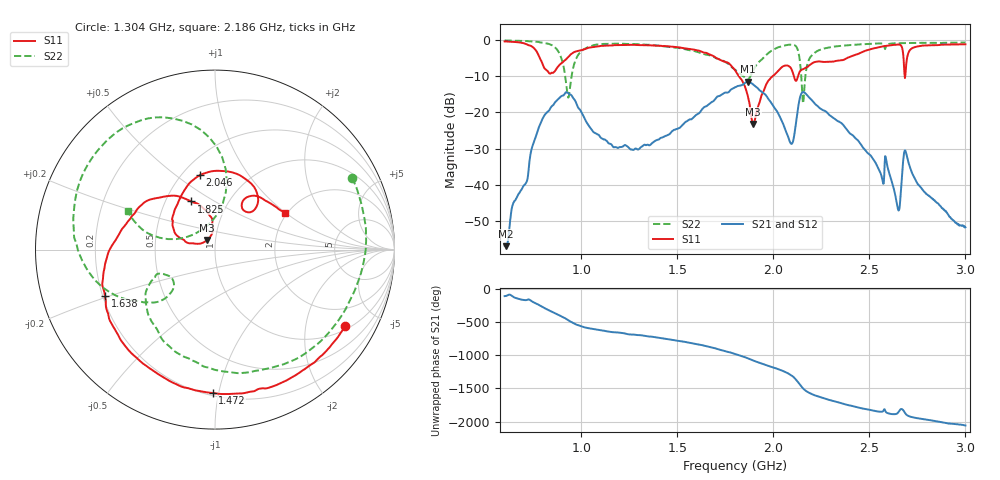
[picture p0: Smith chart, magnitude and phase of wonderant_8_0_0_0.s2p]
#  HZ  S  RI  R  50.00
! Rohde & Schwarz ZVB8 2Ports - Version 2.81 - 1145.1010k08 SN: 100113
! Date: 2016-05-17 22:36:52
! Measurements: S11 S21 S12 S22
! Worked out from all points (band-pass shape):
!   1000 points, 600 MHz to 3 GHz, reference 50 ohm
!   highest |S21| = -11.54 dB at 1.866 GHz (marker M1); lowest = -56.9 dB at 604.8 MHz (marker M2)
!   |S21| within 3 dB of the highest: 1.764 GHz to 1.944 GHz (180 MHz wide, 9.71 % of centre); 2.149699 GHz to 2.159486 GHz (9.787 MHz wide, 0.454 % of centre)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
!   lowest |S11| = -23.3 dB at 1.895 GHz (marker M3), VSWR 1.15, Z = 45.6 + j4.84 ohm
!   |S11| at or under -10 dB: 1.819 GHz to 1.997 GHz (178 MHz wide, 9.33 % of centre); 2.106 GHz to 2.129 GHz (22.15 MHz wide, 1.05 % of centre); 2.683906 GHz to 2.6866 GHz (2.694 MHz wide, 0.1 % of centre)
!   |S22| runs from -17.6 to -0.2 dB; largest |S21 - S12| = 0.0019
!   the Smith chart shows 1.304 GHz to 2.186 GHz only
!   S11 on the Smith chart (normalised r, x): 1.304 GHz: 1.13, -3.30; 1.472 GHz: 0.22, -0.96; 1.638 GHz: 0.21, -0.19; 1.825 GHz: 0.67, +0.40; 2.046 GHz: 0.61, +0.61; 2.186 GHz: 1.94, +0.99
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6e8  -0.8159 0.4798  -0.000568 -0.00134  -0.000516 -0.00132  -0.9477 0.2309
6.048048e8  -0.8006 0.5013  -0.00054 -0.00132  -0.000454 -0.00137  -0.9415 0.2521
7.72973e8  0.1466 0.6248  -0.0309 0.0472  -0.0316 0.0473  -0.4669 0.8086
8.954955e8  -0.0997 0.4615  0.0896 -0.1404  0.0903 -0.1393  0.3925 0.3936
9.387387e8  -0.065 0.6005  -0.108 -0.1397  -0.1074 -0.1399  -0.0914 -0.1746
1.001201e9  0.2119 0.6855  -0.0867 0.047  -0.0866 0.0466  -0.5388 0.4451
1.126126e9  0.7134 0.4204  0.00629 0.0408  0.00629 0.041  0.0586 0.874
1.303904e9  0.7235 -0.4276  0.0297 0.0113  0.0298 0.0114  0.7652 0.4007
1.4e9  0.3638 -0.7454  0.0398 -0.0126  0.04 -0.0125  0.8226 -0.0956
1.472072e9  -0.0133 -0.7995  0.0365 -0.0408  0.0366 -0.0407  0.6583 -0.4322
1.637838e9  -0.6126 -0.2566  -0.0857 -0.0791  -0.0855 -0.0793  -0.1119 -0.6234
1.801201e9  -0.2264 0.3007  -0.0246 0.2198  -0.0257 0.2194  -0.3444 -0.166
1.825225e9  -0.133 0.2683  0.0641 0.2237  0.0632 0.224  -0.3142 -0.1338
1.866066e9  -0.0155 0.1696  0.2235 0.1421  0.2229 0.1434  -0.2419 -0.157
1.894895e9  -0.0439 0.0529  0.2406 -0.00867  0.2403 -0.0073  -0.2689 -0.2649
2.046246e9  -0.0847 0.4144  -0.0657 -0.0324  -0.0657 -0.0325  -0.7865 0.2115
2.096697e9  0.2392 0.2926  -0.0234 0.0284  -0.0235 0.0282  -0.6091 0.6007
2.142342e9  0.2329 0.298  0.1633 -0.0573  0.1635 -0.0564  0.0655 0.3855
2.185586e9  0.3885 0.2065  -0.0921 -0.1311  -0.0917 -0.1311  -0.4875 0.2161
2.2e9  0.4439 0.1517  -0.1209 -0.0829  -0.1207 -0.0833  -0.5139 0.3267
2.601201e9  -0.5581 -0.6171  0.00342 -0.0147  0.00354 -0.0148  0.7321 0.4767
3e9  -0.6542 0.5624  -0.000604 0.00253  -0.000576 0.00256  0.5451 -0.7311
